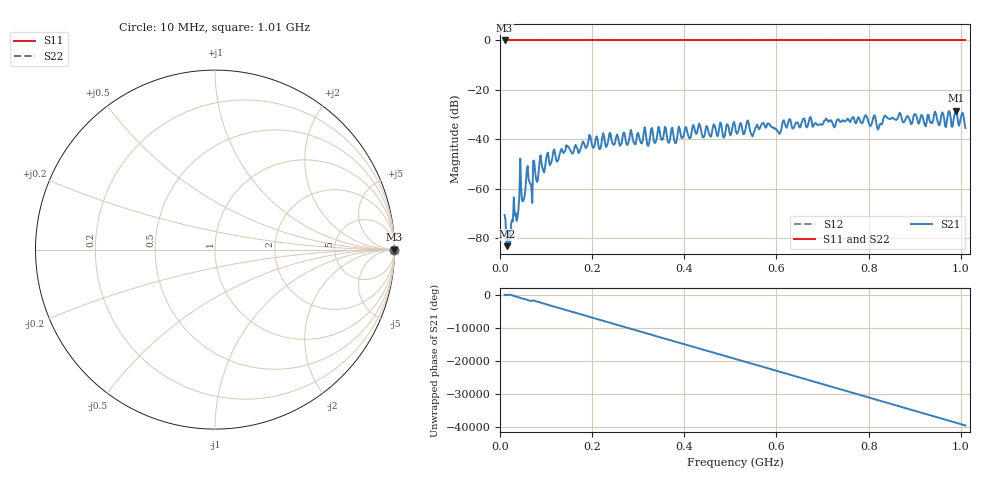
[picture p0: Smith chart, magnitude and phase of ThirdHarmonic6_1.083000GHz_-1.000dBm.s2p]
! 8/16/2025 9:58:45 AM
! C:\ANRITSUVNA\TEMP\TEMP.S2P
! CHANNEL.1
! TR.MEASUREMENT
! RAW.DATA
! RF.CORRECTION.OFF
! AVERAGING.OFF
! IF.BANDWIDTH: 5KHZ
! SWEEPTYPE:  FREQ.SWEEP(Linear)
! Reference Plane Port Info
! PORT:  PORT1  PORT2
! DISTANCE:  0  m  0  m
! TIME:  0  s  0  s
! PHASE.OFFSET:  0  deg.  0  deg.
! LOSS:  0  dB  0  dB
! REF.LOSS:  0  dB  0  dB
! REF.FREQ:  0  Hz  0  Hz
! Power Info
! POWER:  -20  dBm  -20  dBm
! EFF.POWER:  -20  dBm  -20  dBm
! SOURCE.ATTEN:  0  dB  0  dB
! TEST.ATTEN:  0  dB  0  dB
# GHZ S RI R 50.0
! FREQ.GHZ  S11RE  S11IM  S21RE  S21IM  S12RE  S12IM  S22RE  S22IM
!; PortSelection: Port_12
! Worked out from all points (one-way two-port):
!   501 points, 10 MHz to 1.01 GHz, reference 50 ohm
!   highest |S21| = -28.45 dB at 990 MHz (marker M1); lowest = -83.2 dB at 16 MHz (marker M2)
!   lowest |S11| = 0.0 dB at 10 MHz (marker M3)
!   |S11| at or under -10 dB: nowhere
!   |S22| runs from 0.0 to 0.0 dB; largest |S21 - S12| = 1
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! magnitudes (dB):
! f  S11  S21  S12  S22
! 10 MHz  0.0  -70.6  0.0  0.0
! 16 MHz  0.0  -83.2  0.0  0.0
! 36 MHz  0.0  -73.0  0.0  0.0
! 44 MHz  0.0  -47.8  0.0  0.0
! 52 MHz  0.0  -64.3  0.0  0.0
! 60 MHz  0.0  -50.8  0.0  0.0
! 66 MHz  0.0  -58.0  0.0  0.0
! 76 MHz  0.0  -52.5  0.0  0.0
! 80 MHz  0.0  -57.2  0.0  0.0
! 102 MHz  0.0  -46.1  0.0  0.0
! 178 MHz  0.0  -41.9  0.0  0.0
! 344 MHz  0.0  -34.9  0.0  0.0
! 380 MHz  0.0  -41.5  0.0  0.0
! 510 MHz  0.0  -34.4  0.0  0.0
! 538 MHz  0.0  -32.4  0.0  0.0
! 548 MHz  0.0  -38.8  0.0  0.0
! 570 MHz  0.0  -33.5  0.0  0.0
! 606 MHz  0.0  -37.8  0.0  0.0
! 678 MHz  0.0  -34.8  0.0  0.0
! 844 MHz  0.0  -31.6  0.0  0.0
! 990 MHz  0.0  -28.5  0.0  0.0
! 1.01 GHz  0.0  -35.4  0.0  0.0
